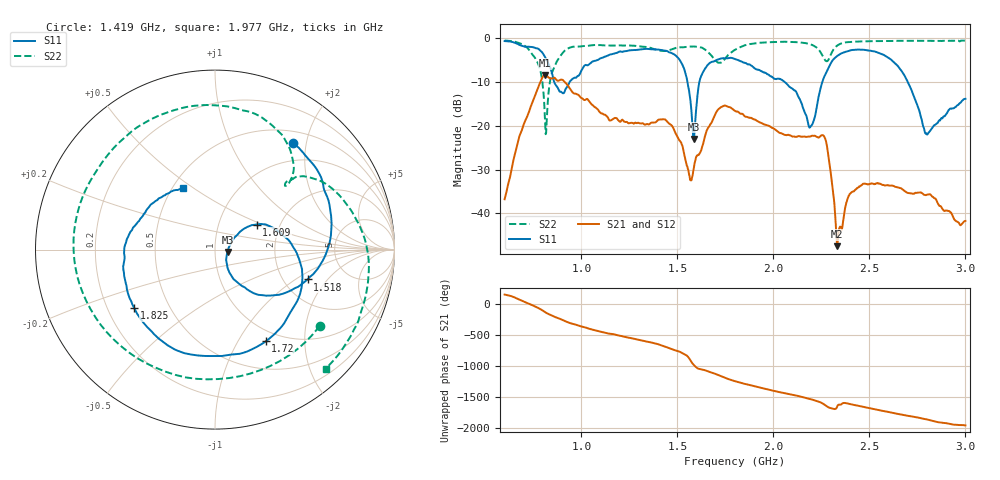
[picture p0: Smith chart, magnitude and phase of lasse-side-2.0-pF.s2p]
#  HZ  S  RI  R  50.00
! Rohde & Schwarz ZVB8 2Ports - Version 2.81 - 1145.1010k08 SN: 100113
! Date: 2016-03-31 05:07:29
! Measurements: S11 S21 S12 S22
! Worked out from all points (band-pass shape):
!   1000 points, 600 MHz to 3 GHz, reference 50 ohm
!   highest |S21| = -8.38 dB at 809 MHz (marker M1); lowest = -47.5 dB at 2.332 GHz (marker M2)
!   |S21| within 3 dB of the highest: 773.5 MHz to 938.6 MHz (165.1 MHz wide, 19.3 % of centre)
!   lowest |S11| = -23.0 dB at 1.585 GHz (marker M3), VSWR 1.15, Z = 57.5 - j1.55 ohm
!   |S11| at or under -10 dB: 858.6 MHz to 937.9 MHz (79.3 MHz wide, 8.83 % of centre); 2.06 GHz to 2.254 GHz (194.8 MHz wide, 9.03 % of centre); 2.7 GHz to end of sweep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
!   |S22| runs from -21.9 to -0.4 dB; largest |S21 - S12| = 0.0029
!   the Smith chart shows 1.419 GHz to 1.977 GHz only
!   S11 on the Smith chart (normalised r, x): 1.419 GHz: 0.68, +1.77; 1.518 GHz: 2.70, -1.27; 1.609 GHz: 1.52, +0.46; 1.72 GHz: 0.85, -1.32; 1.825 GHz: 0.31, -0.29; 1.977 GHz: 0.57, +0.45
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6e8  0.0369 0.9337  -0.0122 0.00789  -0.0123 0.00782  -0.0717 0.9469
7.153153e8  0.6923 0.4094  0.1211 0.0286  0.1207 0.03  0.6985 0.3756
8.09009e8  0.537 -0.3148  -0.2581 -0.2805  -0.258 -0.2811  0.118 -0.0694
1.001201e9  0.2912 -0.3231  0.2067 -0.0273  0.2064 -0.0267  0.5085 -0.637
1.217417e9  -0.7083 0.0193  -0.1132 -0.0217  -0.1132 -0.0217  -0.83 0.0328
1.327928e9  -0.2616 0.7116  -0.0473 0.0929  -0.0473 0.0926  -0.0121 0.8026
1.4e9  0.3117 0.6794  0.0469 0.1078  0.0468 0.1077  0.734 -0.0108
1.419219e9  0.437 0.5931  0.0812 0.0866  0.0811 0.0866  0.5831 -0.4259
1.517718e9  0.5157 -0.1661  0.0302 -0.0579  0.0301 -0.0578  -0.7372 0.2945
1.584985e9  0.0697 -0.0134  -0.00155 0.0324  -0.00152 0.0324  -0.1617 0.794
1.609009e9  0.2322 0.1396  0.0393 0.0257  0.0393 0.0258  0.0684 0.7977
1.71952e9  0.2822 -0.5113  0.031 -0.1569  0.031 -0.1566  0.3894 0.3561
1.801201e9  -0.3389 -0.4719  -0.1459 -0.0266  -0.146 -0.0265  0.6712 0.3237
1.825225e9  -0.4516 -0.3239  -0.1373 0.0259  -0.1371 0.0258  0.7647 0.2081
1.976577e9  -0.1776 0.3406  0.0584 0.0817  0.0581 0.0816  0.6163 -0.6652
2.2e9  0.0219 0.0997  -0.0169 -0.0754  -0.0167 -0.0753  -0.675 -0.5112
2.272072e9  0.023 0.3938  -0.065 0.0236  -0.0651 0.0231  -0.5348 -0.153
2.332132e9  0.4507 0.4411  -0.00323 0.00273  -0.00326 0.00277  -0.82 -0.1222
2.442643e9  0.6817 -0.303  -0.0181 0.00834  -0.0182 0.00832  -0.6809 0.623
2.601201e9  -0.3805 -0.4601  0.0122 0.017  0.0121 0.017  0.1837 0.9167
2.798198e9  0.0807 -0.00159  0.0074 -0.0145  0.00746 -0.0145  0.9032 0.2573
3e9  -0.1036 0.1761  -0.00781 -0.00258  -0.00773 -0.00266  0.7136 -0.6215
